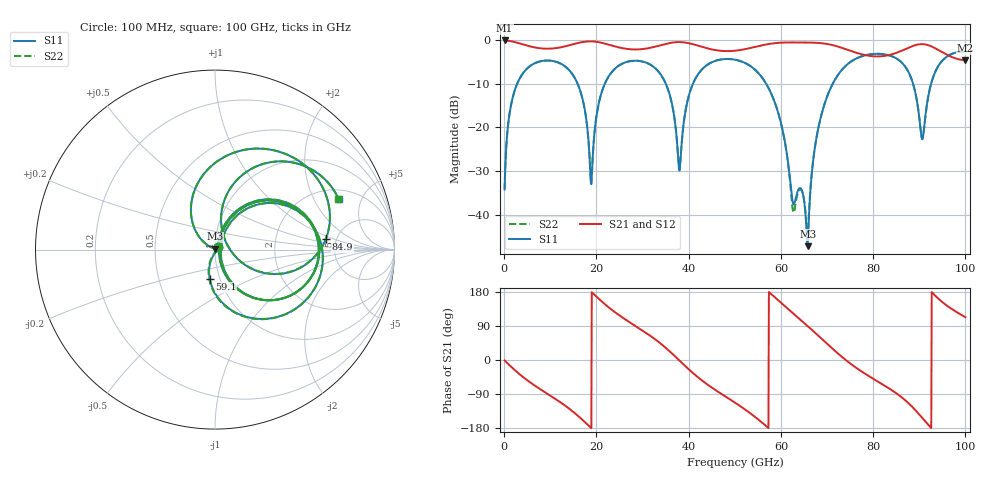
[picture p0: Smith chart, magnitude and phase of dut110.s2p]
! Touchstone file exported from HFSS 2026.1.0
!  File:  C:/ffzhzh/LocalFiles/Ansys_Project_Files/temp_train_TSV_RDL_110_1783457197_41684.aedt
!  Generated:  04:57:36 AM Jul  8, 2026
!  Design:  TSV_RDL
!  Project:  temp_train_TSV_RDL_110_1783457197_41684
! Variables:
!  h_bsmrdl = 4.99um
!  h_ox = 20um
!  h_rdl = 5um
!  h_sub = 51.93um
!  h_tmrdl = 2.68um
!  h_tsv = 51.93um
!  h_via = 3um
!  l_bsmrdl = 447.27um
!  l_sub = 3422.05um
!  l_tmrdl = 387.03um
!  m_sub = 200um
!  pitch = 58.14um
!  r_tsv = 13.06um
!  s_tmrdl = 10um
!  w_bsmrdl = 16.14um
!  w_sub = 500um
!  w_tmrdl = 27.9um
!  x_tsv_center1 = 400.98um
!  x_tsv_center2 = 864.39um
!  x_tsv_center3 = 1279.32um
!  x_tsv_center4 = 1742.73um
!  x_tsv_center5 = 2157.66um
!  x_tsv_center6 = 2621.07um
# GHz S MA R 50.000000
! Terminal data exported
! Port[1] = TM_RDL1_1_T1
! Port[2] = TM_RDL5_1_T1
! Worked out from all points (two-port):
!   1000 points, 100 MHz to 100 GHz, reference 50 ohm
!   highest |S21| = -0.13 dB at 100 MHz (marker M1); lowest = -4.6 dB at 100 GHz (marker M2)
!   |S21| within 3 dB of the highest: start of sweep to 76.94 GHz; 84.58 GHz to 95.52 GHz (10.93 GHz wide, 12.1 % of centre)
!   lowest |S11| = -47.2 dB at 65.8 GHz (marker M3), VSWR 1.01, Z = 50 + j0.437 ohm
!   |S11| at or under -10 dB: 15.91 GHz to 21.84 GHz (5.926 GHz wide, 31.4 % of centre); 35.03 GHz to 40.94 GHz (5.91 GHz wide, 15.6 % of centre); 56.79 GHz to 71.25 GHz (14.46 GHz wide, 22.6 % of centre) (the widest 3 of 5)
!   |S22| runs from -44.3 to -2.6 dB; largest |S21 - S12| = 2e-13
!   S11 on the Smith chart (normalised r, x): 100 MHz: 1.03, +0.03; 59.1 GHz: 0.90, -0.30; 84.9 GHz: 4.11, +0.78; 100 GHz: 2.52, +3.19
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0.1  0.0195 41.6  0.9856 -1.2  0.9856 -1.2  0.0195 41.6
! Gamma 0 0 0 0
! Port Impedance 50 0 50 0
1.7  0.2027 64.8  0.9605 -19.9  0.9605 -19.9  0.2027 64.8
4.9  0.4665 35.0  0.8634 -52.5  0.8634 -52.5  0.4666 35.0
10.5  0.5745 -8.9  0.7976 -97.9  0.7976 -97.9  0.5745 -8.9
16.8  0.2314 -62.3  0.9404 -156.0  0.9404 -156.0  0.2314 -62.3
18.9  0.02238 10.8  0.9617 -180.0  0.9617 -180.0  0.02274 10.8
20.5  0.1867 64.1  0.9418 161.7  0.9418 161.7  0.1868 64.0
23  0.4067 42.3  0.8722 135.6  0.8722 135.6  0.4069 42.3
33.4  0.4379 -39.7  0.855 48.5  0.855 48.5  0.4381 -39.7
38  0.0321 -1.5  0.9444 -1.4  0.9444 -1.4  0.0324 -1.8
41.6  0.3714 43.9  0.8723 -41.4  0.8723 -41.4  0.3714 43.7
50.1  0.5931 -22.8  0.7527 -113.0  0.7527 -113.0  0.5931 -23.0
59.1  0.1659 -100.2  0.9222 161.2  0.9222 161.2  0.1657 -101.3
62.6  0.01374 -62.1  0.9352 123.5  0.9352 123.5  0.01114 -64.2
65.8  0.004377 85.5  0.9326 89.5  0.9326 89.5  0.006122 87.7
66.7  0.02982 150.4  0.9307 79.7  0.9307 79.7  0.03042 147.9
72.1  0.3782 105.1  0.8473 20.0  0.8473 20.0  0.3781 105.1
83.4  0.6677 16.4  0.6702 -74.5  0.6702 -74.5  0.6677 16.6
84.9  0.6203 5.4  0.707 -86.7  0.707 -86.7  0.6203 5.6
90.7  0.07311 31.9  0.8941 -153.5  0.8941 -153.5  0.07397 31.8
93.8  0.4691 67.8  0.7844 165.7  0.7844 165.7  0.469 67.9
100  0.7442 22.3  0.5857 113.0  0.5857 113.0  0.744 22.5
